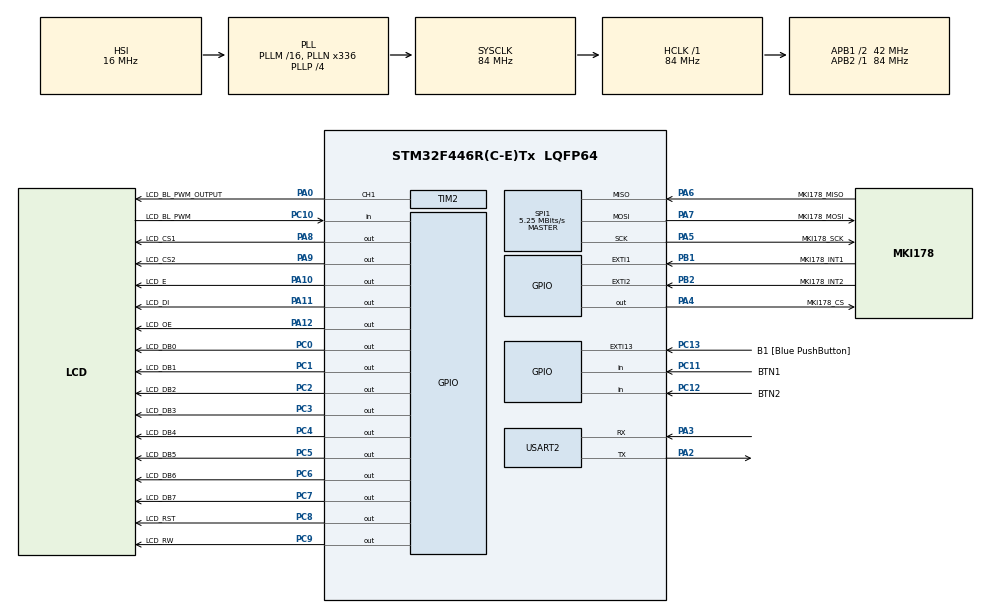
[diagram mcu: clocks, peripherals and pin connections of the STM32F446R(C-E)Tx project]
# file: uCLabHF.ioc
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Mcu.Family=STM32F4
Mcu.Name=STM32F446R(C-E)Tx
Mcu.Package=LQFP64
NVIC.PriorityGroup=NVIC_PRIORITYGROUP_0
NVIC.USART2_IRQn=true\:0\:0\:false\:false\:true\:true\:true
PA0-WKUP.GPIO_Label=LCD_BL_PWM_OUTPUT
PA0-WKUP.Signal=S_TIM2_CH1_ETR
PA10.GPIO_Label=LCD_E
PA10.Signal=GPIO_Output
PA11.GPIO_Label=LCD_DI
PA11.Signal=GPIO_Output
PA12.GPIO_Label=LCD_OE
PA12.Signal=GPIO_Output
PA13.GPIO_Label=TMS
PA13.Mode=Serial_Wire
PA13.Signal=SYS_JTMS-SWDIO
PA14.GPIO_Label=TCK
PA14.Mode=Serial_Wire
PA14.Signal=SYS_JTCK-SWCLK
PA2.Mode=Asynchronous
PA2.Signal=USART2_TX
PA3.Mode=Asynchronous
PA3.Signal=USART2_RX
PA4.GPIO_Label=MKI178_CS
PA4.Signal=GPIO_Output
PA5.GPIO_Label=MKI178_SCK
PA5.Mode=Full_Duplex_Master
PA5.Signal=SPI1_SCK
PA6.GPIO_Label=MKI178_MISO
PA6.Mode=Full_Duplex_Master
PA6.Signal=SPI1_MISO
PA7.GPIO_Label=MKI178_MOSI
PA7.Mode=Full_Duplex_Master
PA7.Signal=SPI1_MOSI
PA8.GPIO_Label=LCD_CS1
PA8.Signal=GPIO_Output
PA9.GPIO_Label=LCD_CS2
PA9.Signal=GPIO_Output
PB1.GPIO_Label=MKI178_INT1
PB1.Signal=GPXTI1
PB2.GPIO_Label=MKI178_INT2
PB2.Signal=GPXTI2
PB3.GPIO_Label=SWO
PB3.Signal=SYS_JTDO-SWO
PC0.GPIO_Label=LCD_DB0
PC0.Signal=GPIO_Output
PC1.GPIO_Label=LCD_DB1
PC1.Signal=GPIO_Output
PC10.GPIO_Label=LCD_BL_PWM
PC10.Signal=GPIO_Input
PC11.GPIO_Label=BTN1
PC11.Signal=GPIO_Input
PC12.GPIO_Label=BTN2
PC12.Signal=GPIO_Input
PC13.GPIO_Label=B1 [Blue PushButton]
PC13.GPIO_ModeDefaultEXTI=GPIO_MODE_IT_FALLING
PC13.Signal=GPXTI13
PC14-OSC32_IN.Mode=LSE-External-Oscillator
PC14-OSC32_IN.Signal=RCC_OSC32_IN
PC15-OSC32_OUT.Mode=LSE-External-Oscillator
PC15-OSC32_OUT.Signal=RCC_OSC32_OUT
PC2.GPIO_Label=LCD_DB2
PC2.Signal=GPIO_Output
PC3.GPIO_Label=LCD_DB3
PC3.Signal=GPIO_Output
PC4.GPIO_Label=LCD_DB4
PC4.Signal=GPIO_Output
PC5.GPIO_Label=LCD_DB5
PC5.Signal=GPIO_Output
PC6.GPIO_Label=LCD_DB6
PC6.Signal=GPIO_Output
PC7.GPIO_Label=LCD_DB7
PC7.Signal=GPIO_Output
PC8.GPIO_Label=LCD_RST
PC8.Signal=GPIO_Output
PC9.GPIO_Label=LCD_RW
PC9.Signal=GPIO_Output
PH0-OSC_IN.Mode=HSE-External-Oscillator
PH0-OSC_IN.Signal=RCC_OSC_IN
PH1-OSC_OUT.Mode=HSE-External-Oscillator
PH1-OSC_OUT.Signal=RCC_OSC_OUT
ProjectManager.HeapSize=0x200
ProjectManager.StackSize=0x400
ProjectManager.TargetToolchain=STM32CubeIDE
RCC.48MHZClocksFreq_Value=84000000
RCC.AHBFreq_Value=84000000
RCC.APB1CLKDivider=RCC_HCLK_DIV2
RCC.APB1Freq_Value=42000000
RCC.APB1TimFreq_Value=84000000
RCC.APB2Freq_Value=84000000
RCC.APB2TimFreq_Value=84000000
RCC.CortexFreq_Value=84000000
RCC.FLatency-AdvancedSettings=FLASH_LATENCY_2
RCC.HCLKFreq_Value=84000000
RCC.HSE_VALUE=8000000
RCC.HSI_VALUE=16000000
RCC.PLLN=336
RCC.PLLP=RCC_PLLP_DIV4
RCC.SYSCLKFreq_VALUE=84000000
RCC.SYSCLKSource=RCC_SYSCLKSOURCE_PLLCLK
RCC.USBFreq_Value=168000000
RCC.VCOOutputFreq_Value=336000000
SH.S_TIM2_CH1_ETR.0=TIM2_CH1,PWM Generation1 CH1
SPI1.BaudRatePrescaler=SPI_BAUDRATEPRESCALER_16
SPI1.CalculateBaudRate=5.25 MBits/s
SPI1.Direction=SPI_DIRECTION_2LINES
SPI1.Mode=SPI_MODE_MASTER
SPI1.VirtualType=VM_MASTER
TIM2.AutoReloadPreload=TIM_AUTORELOAD_PRELOAD_ENABLE
TIM2.Channel-PWM\ Generation1\ CH1=TIM_CHANNEL_1
TIM2.Period=16000
TIM2.Prescaler=4
TIM2.Pulse-PWM\ Generation1\ CH1=128
TIM4.AutoReloadPreload=TIM_AUTORELOAD_PRELOAD_DISABLE
TIM4.Period=0xffff-1
TIM4.Prescaler=84-1
USART2.VirtualMode=VM_ASYNC
VP_TIM2_VS_ClockSourceINT.Mode=Internal
VP_TIM4_VS_ClockSourceINT.Mode=Internal
board=NUCLEO-F446RE

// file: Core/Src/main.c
/* USER CODE BEGIN Header */
/**
  ******************************************************************************
  * @file           : main.c
  * @brief          : Main program body
  ******************************************************************************
  * @attention
  *
  * Copyright (c) 2022 STMicroelectronics.
  * All rights reserved.
  *
  * This software is licensed under terms that can be found in the LICENSE file
  * in the root directory of this software component.
  * If no LICENSE file comes with this software, it is provided AS-IS.
  *
  ******************************************************************************
  */
/* USER CODE END Header */
#include "main.h"

SPI_HandleTypeDef hspi1;

TIM_HandleTypeDef htim2;
TIM_HandleTypeDef htim4;

UART_HandleTypeDef huart2;

/* USER CODE BEGIN PV */
uint8_t BTN1_State = 0u;
uint8_t BTN2_State = 0u;
uint8_t BTN1_PrevState = 0u;
uint8_t BTN2_PrevState = 0u;
float startTime = 0;
float endTime = 0;
float diffTime = 0;
uint64_t sysClockFreq = 84000000;
float angle = 0;
int8_t intAngle = 0;
char angleMessage[32] = {0};
float sysTickTimeNanosec = 1/84000000;
float degreePerPixel = 1.40625;
char buffer[2];
/* USER CODE END PV */

void SystemClock_Config(void);
static void MX_GPIO_Init(void);
static void MX_SPI1_Init(void);
static void MX_TIM2_Init(void);
static void MX_TIM4_Init(void);
static void MX_USART2_UART_Init(void);

int main(void)
{

  /* MCU Configuration--------------------------------------------------------*/

  /* Reset of all peripherals, Initializes the Flash interface and the Systick. */
  HAL_Init();

  /* Configure the system clock */
  SystemClock_Config();

  /* Initialize all configured peripherals */
  MX_GPIO_Init();
  MX_SPI1_Init();
  MX_TIM2_Init();
  MX_TIM4_Init();
  MX_USART2_UART_Init();
  /* USER CODE BEGIN 2 */
  LCD_Init();
  HAL_UART_Receive_IT(&huart2, &RxStringBuffer, 1);

  CoreDebug->DEMCR |= CoreDebug_DEMCR_TRCENA_Msk;
  DWT->CYCCNT = 0;
  DWT->CTRL |= DWT_CTRL_CYCCNTENA_Msk;

  HAL_TIM_Base_Start(&htim4);

  lsm6dsl_init();
  /* USER CODE END 2 */

  /* Infinite loop */
  /* USER CODE BEGIN WHILE */
  while (1)
  {
	lsm6dsl_read_data_polling();
	LCD_Draw_Bubble_Tube(acceleration_mg);
	LCDWriteActualAngle(acceleration_mg);
	UART_SendString(angle);
	BTNControl();
    /* USER CODE END WHILE */

  }
}

void SystemClock_Config(void)
{
  RCC_OscInitTypeDef RCC_OscInitStruct = {0};
  RCC_ClkInitTypeDef RCC_ClkInitStruct = {0};

  /** Configure the main internal regulator output voltage
  */
  __HAL_RCC_PWR_CLK_ENABLE();
  __HAL_PWR_VOLTAGESCALING_CONFIG(PWR_REGULATOR_VOLTAGE_SCALE3);
  /** Initializes the RCC Oscillators according to the specified parameters
  * in the RCC_OscInitTypeDef structure.
  */
  RCC_OscInitStruct.OscillatorType = RCC_OSCILLATORTYPE_HSI;
  RCC_OscInitStruct.HSIState = RCC_HSI_ON;
  RCC_OscInitStruct.HSICalibrationValue = RCC_HSICALIBRATION_DEFAULT;
  RCC_OscInitStruct.PLL.PLLState = RCC_PLL_ON;
  RCC_OscInitStruct.PLL.PLLSource = RCC_PLLSOURCE_HSI;
  RCC_OscInitStruct.PLL.PLLM = 16;
  RCC_OscInitStruct.PLL.PLLN = 336;
  RCC_OscInitStruct.PLL.PLLP = RCC_PLLP_DIV4;
  RCC_OscInitStruct.PLL.PLLQ = 2;
  RCC_OscInitStruct.PLL.PLLR = 2;
  if (HAL_RCC_OscConfig(&RCC_OscInitStruct) != HAL_OK)
  {
    Error_Handler();
  }
  /** Initializes the CPU, AHB and APB buses clocks
  */
  RCC_ClkInitStruct.ClockType = RCC_CLOCKTYPE_HCLK|RCC_CLOCKTYPE_SYSCLK
                              |RCC_CLOCKTYPE_PCLK1|RCC_CLOCKTYPE_PCLK2;
  RCC_ClkInitStruct.SYSCLKSource = RCC_SYSCLKSOURCE_PLLCLK;
  RCC_ClkInitStruct.AHBCLKDivider = RCC_SYSCLK_DIV1;
  RCC_ClkInitStruct.APB1CLKDivider = RCC_HCLK_DIV2;
  RCC_ClkInitStruct.APB2CLKDivider = RCC_HCLK_DIV1;

  if (HAL_RCC_ClockConfig(&RCC_ClkInitStruct, FLASH_LATENCY_2) != HAL_OK)
  {
    Error_Handler();
  }
}

static void MX_SPI1_Init(void)
{

  /* SPI1 parameter configuration*/
  hspi1.Instance = SPI1;
  hspi1.Init.Mode = SPI_MODE_MASTER;
  hspi1.Init.Direction = SPI_DIRECTION_2LINES;
  hspi1.Init.DataSize = SPI_DATASIZE_8BIT;
  hspi1.Init.CLKPolarity = SPI_POLARITY_LOW;
  hspi1.Init.CLKPhase = SPI_PHASE_1EDGE;
  hspi1.Init.NSS = SPI_NSS_SOFT;
  hspi1.Init.BaudRatePrescaler = SPI_BAUDRATEPRESCALER_16;
  hspi1.Init.FirstBit = SPI_FIRSTBIT_MSB;
  hspi1.Init.TIMode = SPI_TIMODE_DISABLE;
  hspi1.Init.CRCCalculation = SPI_CRCCALCULATION_DISABLE;
  hspi1.Init.CRCPolynomial = 10;
  if (HAL_SPI_Init(&hspi1) != HAL_OK)
  {
    Error_Handler();
  }

}

static void MX_TIM2_Init(void)
{

  TIM_ClockConfigTypeDef sClockSourceConfig = {0};
  TIM_MasterConfigTypeDef sMasterConfig = {0};
  TIM_OC_InitTypeDef sConfigOC = {0};

  htim2.Instance = TIM2;
  htim2.Init.Prescaler = 4;
  htim2.Init.CounterMode = TIM_COUNTERMODE_UP;
  htim2.Init.Period = 16000;
  htim2.Init.ClockDivision = TIM_CLOCKDIVISION_DIV1;
  htim2.Init.AutoReloadPreload = TIM_AUTORELOAD_PRELOAD_ENABLE;
  if (HAL_TIM_Base_Init(&htim2) != HAL_OK)
  {
    Error_Handler();
  }
  sClockSourceConfig.ClockSource = TIM_CLOCKSOURCE_INTERNAL;
  if (HAL_TIM_ConfigClockSource(&htim2, &sClockSourceConfig) != HAL_OK)
  {
    Error_Handler();
  }
  if (HAL_TIM_PWM_Init(&htim2) != HAL_OK)
  {
    Error_Handler();
  }
  sMasterConfig.MasterOutputTrigger = TIM_TRGO_RESET;
  sMasterConfig.MasterSlaveMode = TIM_MASTERSLAVEMODE_DISABLE;
  if (HAL_TIMEx_MasterConfigSynchronization(&htim2, &sMasterConfig) != HAL_OK)
  {
    Error_Handler();
  }
  sConfigOC.OCMode = TIM_OCMODE_PWM1;
  sConfigOC.Pulse = 128;
  sConfigOC.OCPolarity = TIM_OCPOLARITY_HIGH;
  sConfigOC.OCFastMode = TIM_OCFAST_DISABLE;
  if (HAL_TIM_PWM_ConfigChannel(&htim2, &sConfigOC, TIM_CHANNEL_1) != HAL_OK)
  {
    Error_Handler();
  }
  HAL_TIM_MspPostInit(&htim2);

}

static void MX_TIM4_Init(void)
{

  TIM_ClockConfigTypeDef sClockSourceConfig = {0};
  TIM_MasterConfigTypeDef sMasterConfig = {0};

  htim4.Instance = TIM4;
  htim4.Init.Prescaler = 84-1;
  htim4.Init.CounterMode = TIM_COUNTERMODE_UP;
  htim4.Init.Period = 0xffff-1;
  htim4.Init.ClockDivision = TIM_CLOCKDIVISION_DIV1;
  htim4.Init.AutoReloadPreload = TIM_AUTORELOAD_PRELOAD_DISABLE;
  if (HAL_TIM_Base_Init(&htim4) != HAL_OK)
  {
    Error_Handler();
  }
  sClockSourceConfig.ClockSource = TIM_CLOCKSOURCE_INTERNAL;
  if (HAL_TIM_ConfigClockSource(&htim4, &sClockSourceConfig) != HAL_OK)
  {
    Error_Handler();
  }
  sMasterConfig.MasterOutputTrigger = TIM_TRGO_RESET;
  sMasterConfig.MasterSlaveMode = TIM_MASTERSLAVEMODE_DISABLE;
  if (HAL_TIMEx_MasterConfigSynchronization(&htim4, &sMasterConfig) != HAL_OK)
  {
    Error_Handler();
  }

}

static void MX_USART2_UART_Init(void)
{

  huart2.Instance = USART2;
  huart2.Init.BaudRate = 115200;
  huart2.Init.WordLength = UART_WORDLENGTH_8B;
  huart2.Init.StopBits = UART_STOPBITS_1;
  huart2.Init.Parity = UART_PARITY_NONE;
  huart2.Init.Mode = UART_MODE_TX_RX;
  huart2.Init.HwFlowCtl = UART_HWCONTROL_NONE;
  huart2.Init.OverSampling = UART_OVERSAMPLING_16;
  if (HAL_UART_Init(&huart2) != HAL_OK)
  {
    Error_Handler();
  }

}

static void MX_GPIO_Init(void)
{
  GPIO_InitTypeDef GPIO_InitStruct = {0};

  /* GPIO Ports Clock Enable */
  __HAL_RCC_GPIOC_CLK_ENABLE();
  __HAL_RCC_GPIOH_CLK_ENABLE();
  __HAL_RCC_GPIOA_CLK_ENABLE();
  __HAL_RCC_GPIOB_CLK_ENABLE();

  /*Configure GPIO pin Output Level */
  HAL_GPIO_WritePin(GPIOC, LCD_DB0_Pin|LCD_DB1_Pin|LCD_DB2_Pin|LCD_DB3_Pin
                          |LCD_DB4_Pin|LCD_DB5_Pin|LCD_DB6_Pin|LCD_DB7_Pin
                          |LCD_RST_Pin|LCD_RW_Pin, GPIO_PIN_RESET);

  /*Configure GPIO pin Output Level */
  HAL_GPIO_WritePin(GPIOA, MKI178_CS_Pin|LCD_CS1_Pin|LCD_CS2_Pin|LCD_E_Pin
                          |LCD_DI_Pin|LCD_OE_Pin, GPIO_PIN_RESET);

  /*Configure GPIO pin : B1_Pin */
  GPIO_InitStruct.Pin = B1_Pin;
  GPIO_InitStruct.Mode = GPIO_MODE_IT_FALLING;
  GPIO_InitStruct.Pull = GPIO_NOPULL;
  HAL_GPIO_Init(B1_GPIO_Port, &GPIO_InitStruct);

  /*Configure GPIO pins : LCD_DB0_Pin LCD_DB1_Pin LCD_DB2_Pin LCD_DB3_Pin
                           LCD_DB4_Pin LCD_DB5_Pin LCD_DB6_Pin LCD_DB7_Pin
                           LCD_RST_Pin LCD_RW_Pin */
  GPIO_InitStruct.Pin = LCD_DB0_Pin|LCD_DB1_Pin|LCD_DB2_Pin|LCD_DB3_Pin
                          |LCD_DB4_Pin|LCD_DB5_Pin|LCD_DB6_Pin|LCD_DB7_Pin
                          |LCD_RST_Pin|LCD_RW_Pin;
  GPIO_InitStruct.Mode = GPIO_MODE_OUTPUT_PP;
  GPIO_InitStruct.Pull = GPIO_NOPULL;
  GPIO_InitStruct.Speed = GPIO_SPEED_FREQ_LOW;
  HAL_GPIO_Init(GPIOC, &GPIO_InitStruct);

  /*Configure GPIO pins : MKI178_CS_Pin LCD_CS1_Pin LCD_CS2_Pin LCD_E_Pin
                           LCD_DI_Pin LCD_OE_Pin */
  GPIO_InitStruct.Pin = MKI178_CS_Pin|LCD_CS1_Pin|LCD_CS2_Pin|LCD_E_Pin
                          |LCD_DI_Pin|LCD_OE_Pin;
  GPIO_InitStruct.Mode = GPIO_MODE_OUTPUT_PP;
  GPIO_InitStruct.Pull = GPIO_NOPULL;
  GPIO_InitStruct.Speed = GPIO_SPEED_FREQ_LOW;
  HAL_GPIO_Init(GPIOA, &GPIO_InitStruct);

  /*Configure GPIO pins : MKI178_INT1_Pin MKI178_INT2_Pin */
  GPIO_InitStruct.Pin = MKI178_INT1_Pin|MKI178_INT2_Pin;
  GPIO_InitStruct.Mode = GPIO_MODE_IT_RISING;
  GPIO_InitStruct.Pull = GPIO_NOPULL;
  HAL_GPIO_Init(GPIOB, &GPIO_InitStruct);

  /*Configure GPIO pins : LCD_BL_PWM_Pin BTN1_Pin BTN2_Pin */
  GPIO_InitStruct.Pin = LCD_BL_PWM_Pin|BTN1_Pin|BTN2_Pin;
  GPIO_InitStruct.Mode = GPIO_MODE_INPUT;
  GPIO_InitStruct.Pull = GPIO_NOPULL;
  HAL_GPIO_Init(GPIOC, &GPIO_InitStruct);

}

void Error_Handler(void)
{
  __disable_irq();
  while (1)
  {
  }
}
